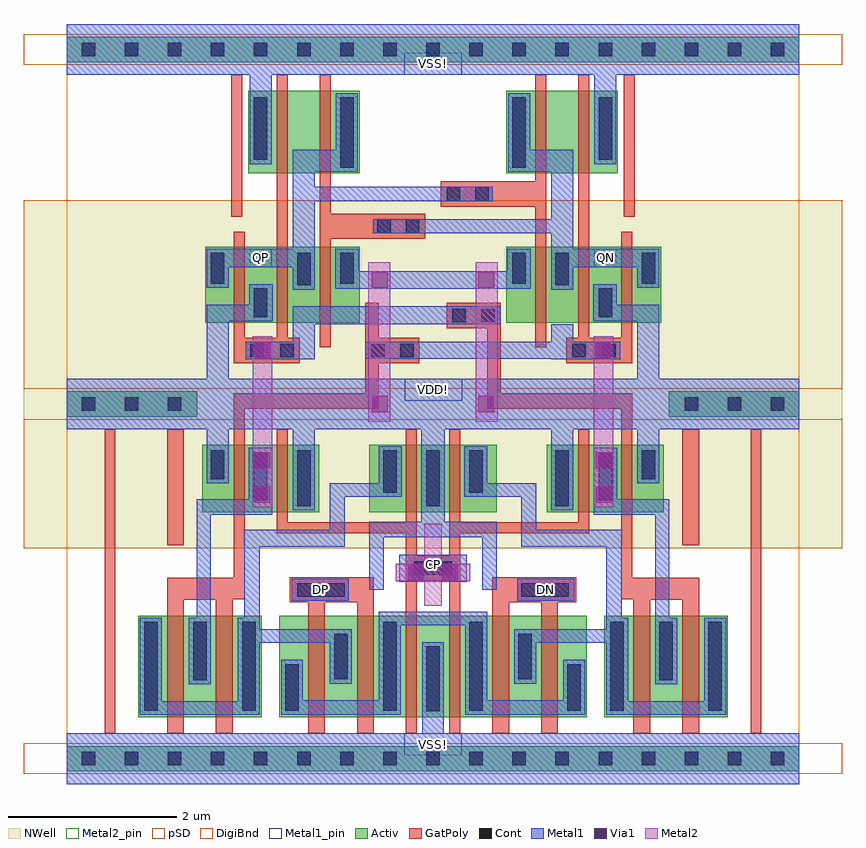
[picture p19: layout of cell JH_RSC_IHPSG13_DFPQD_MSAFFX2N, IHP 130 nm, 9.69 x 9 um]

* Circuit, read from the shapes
.subckt JH_RSC_IHPSG13_DFPQD_MSAFFX2N CP DN DP QN QP VDD! VSS!
XM1 n1 n2 n3 VSS! sg13_lv_nmos w=1.2u l=0.2u m=2
XM2 n4 n1 VSS! VSS! sg13_lv_nmos w=0.98u l=0.13u
XM3 n3 DP n5 VSS! sg13_lv_nmos w=1.2u l=0.2u m=2
XM4 QP QN n4 VSS! sg13_lv_nmos w=0.98u l=0.13u
XM5 VSS! CP n5 VSS! sg13_lv_nmos w=1.2u l=0.13u m=2
XM6 n6 DN n5 VSS! sg13_lv_nmos w=1.2u l=0.2u m=2
XM7 n7 QP QN VSS! sg13_lv_nmos w=0.98u l=0.13u
XM8 VSS! n2 n7 VSS! sg13_lv_nmos w=0.98u l=0.13u
XM9 n2 n1 n6 VSS! sg13_lv_nmos w=1.2u l=0.2u m=2
XM10 n1 n2 VDD! VDD! sg13_lv_pmos w=0.8u l=0.13u
XM11 VDD! n1 QP VDD! sg13_lv_pmos w=0.9u l=0.13u m=2
XM12 VDD! CP n1 VDD! sg13_lv_pmos w=0.8u l=0.13u
XM13 VDD! QN QP VDD! sg13_lv_pmos w=0.9u l=0.13u
XM14 VDD! CP n3 VDD! sg13_lv_pmos w=0.8u l=0.13u
XM15 n6 CP VDD! VDD! sg13_lv_pmos w=0.8u l=0.13u
XM16 QN QP VDD! VDD! sg13_lv_pmos w=0.9u l=0.13u
XM17 n2 CP VDD! VDD! sg13_lv_pmos w=0.8u l=0.13u
XM18 VDD! n2 QN VDD! sg13_lv_pmos w=0.9u l=0.13u m=2
XM19 VDD! n1 n2 VDD! sg13_lv_pmos w=0.8u l=0.13u
.ends

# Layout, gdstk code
from math import pi, radians
import gdstk
lib = gdstk.Library(unit=1e-6, precision=1e-09)
def R(c, l, rs):  # rectangles x0, y0, x1, y1
    for r in rs: c.add(gdstk.rectangle(r[:2], r[2:], *l))
def A(c, l, x, y, w, h, nx, ny, dx, dy):  # array of equal rectangles
    R(c, l, [(x+i*dx, y+j*dy, x+i*dx+w, y+j*dy+h) for i in range(nx) for j in range(ny)])
def P(c, l, *ps):  # polygons
    for p in ps: c.add(gdstk.Polygon(p, *l))
Activ = (1, 0)
GatPoly = (5, 0)
Cont = (6, 0)
Metal1 = (8, 0)
Metal1_pin = (8, 2)
Metal2 = (10, 0)
Metal2_pin = (10, 2)
pSD = (14, 0)
DigiBnd = (16, 0)
Via1 = (19, 0)
NWell = (31, 0)

jh_rsc_ihpsg13_dfpqd_msa = lib.new_cell('JH_RSC_IHPSG13_DFPQD_MSAFFX2N_half')
R(jh_rsc_ihpsg13_dfpqd_msa, Activ, [(0,-0.15,4.335,0.15), (0.845,0.49,2.305,1.69), (2.515,0.49,4.335,1.69), (1.6,2.92,2.99,3.72), (3.58,2.92,4.335,3.72), (0,4.05,1.545,4.35), (1.635,5.16,3.465,6.06), (2.145,6.93,3.465,7.91), (0,8.25,4.59,8.55)])
R(jh_rsc_ihpsg13_dfpqd_msa, GatPoly, [(0.445,0.3,0.575,3.9), (1.185,2.525,1.385,3.9), (2.995,4.875,3.125,8.1), (1.945,6.42,2.075,8.1)])
P(jh_rsc_ihpsg13_dfpqd_msa, GatPoly, [(1.975,4.685),(1.975,6.24),(2.105,6.24),(2.105,4.985),(2.485,4.985),(2.485,8.1),(2.615,8.1),(2.615,4.985),(2.755,4.985),(2.755,4.685)],
  [(2.855,0.3),(2.855,1.85),(2.64,1.85),(2.64,2.15),(3.635,2.15),(3.635,0.3),(3.435,0.3),(3.435,1.85),(3.055,1.85),(3.055,0.3)],
  [(1.185,0.3),(1.185,2.145),(1.975,2.145),(1.975,4.325),(3.535,4.325),(3.535,5.4),(3.695,5.4),(3.695,4.145),(2.105,4.145),(2.105,1.89),(1.965,1.89),(1.965,0.3),(1.765,0.3),(1.765,1.88),(1.385,1.88),(1.385,0.3)],
  [(4.015,0.3),(4.015,2.67),(2.485,2.67),(2.485,3.9),(2.615,3.9),(2.615,2.8),(4.015,2.8),(4.015,3.9),(4.145,3.9),(4.145,2.405),(4.335,2.405),(4.335,2.105),(4.145,2.105),(4.145,0.3)])
A(jh_rsc_ihpsg13_dfpqd_msa, Cont, 0.175, -0.08, 0.16, 0.16, 9, 2, 0.51, 8.4)
A(jh_rsc_ihpsg13_dfpqd_msa, Cont, 0.175, 4.12, 0.16, 0.16, 3, 1, 0.51, 0)
R(jh_rsc_ihpsg13_dfpqd_msa, Cont, [(4.255,0.56,4.415,1.33), (0.915,0.57,1.075,1.62), (2.075,0.57,2.235,1.62), (2.585,0.57,2.745,1.12), (3.745,0.57,3.905,1.62), (1.495,0.93,1.655,1.62), (3.165,0.94,3.325,1.48), (2.725,1.92,3.29,2.08), (4.105,2.175,4.335,2.335), (2.725,2.99,2.885,3.65), (4.255,2.99,4.415,3.65), (2.215,3.055,2.375,3.63), (3.745,3.15,3.905,3.65), (1.705,3.31,1.865,3.65), (2.17,4.755,2.33,4.915), (2.525,4.755,2.685,4.915), (2.215,5.23,2.375,5.57), (2.725,5.605,2.885,5.99), (1.705,5.625,1.865,5.99), (3.235,5.625,3.395,5.99), (3.235,7,3.395,7.83), (2.215,7.09,2.375,7.83)])
R(jh_rsc_ihpsg13_dfpqd_msa, Metal1, [(2.66,1.87,3.34,2.13), (3.935,2.095,4.335,2.415)])
P(jh_rsc_ihpsg13_dfpqd_msa, Metal1, [(1.445,0.88),(1.445,1.67),(1.54,1.67),(1.54,3.07),(2.155,3.07),(2.155,3.68),(2.43,3.68),(2.43,2.89),(1.705,2.89),(1.705,0.88)],
  [(2.12,4.73),(2.12,4.94),(2.675,4.94),(2.675,5.145),(2.935,5.145),(2.935,4.73)],
  [(2.675,5.555),(2.675,5.82),(1.915,5.82),(1.915,5.575),(1.655,5.575),(1.655,6.04),(2.675,6.04),(2.675,7.21),(3.185,7.21),(3.185,7.88),(3.445,7.88),(3.445,6.95),(2.935,6.95),(2.935,5.555)],
  [(0.865,0.52),(0.865,1.67),(1.125,1.67),(1.125,0.68),(2.025,0.68),(2.025,1.67),(2.1,1.67),(2.1,2.71),(3.115,2.71),(3.115,3.26),(3.695,3.26),(3.695,3.7),(3.965,3.7),(3.965,3.1),(3.29,3.1),(3.29,2.51),(2.285,2.51),(2.285,1.53),(3.375,1.53),(3.375,0.89),(3.115,0.89),(3.115,1.37),(2.285,1.37),(2.285,0.52)],
  [(2.165,7.04),(2.165,8.1),(0,8.1),(0,8.7),(4.335,8.7),(4.335,8.1),(2.425,8.1),(2.425,7.04)],
  [(3.175,5.565),(3.175,6.04),(3.455,6.04),(3.455,5.775),(4.335,5.775),(4.335,5.565)],
  [(2.535,0.52),(2.535,1.17),(2.795,1.17),(2.795,0.69),(3.695,0.69),(3.695,1.74),(4.335,1.74),(4.335,1.58),(3.955,1.58),(3.955,0.52)],
  [(0,-0.3),(0,0.3),(4.205,0.3),(4.205,1.38),(4.465,1.38),(4.465,-0.3)],
  [(3.58,2),(3.58,2.805),(4.195,2.805),(4.195,3.9),(2.935,3.9),(2.935,2.94),(2.675,2.94),(2.675,3.9),(1.915,3.9),(1.915,3.26),(1.655,3.26),(1.655,3.9),(0,3.9),(0,4.5),(1.655,4.5),(1.655,5.375),(2.16,5.375),(2.16,5.62),(2.435,5.62),(2.435,5.18),(1.915,5.18),(1.915,4.5),(4.59,4.5),(4.59,3.9),(4.475,3.9),(4.475,2.625),(3.75,2.625),(3.75,2)])
R(jh_rsc_ihpsg13_dfpqd_msa, Metal2, [(2.2,2.98,2.43,5), (3.57,3.99,3.83,5.88)])
R(jh_rsc_ihpsg13_dfpqd_msa, pSD, [(-0.51,-0.18,5.1,0.18), (-0.51,2.49,5.1,4.02), (-0.51,4.38,5.1,6.615), (-0.51,8.22,5.1,8.58)])
R(jh_rsc_ihpsg13_dfpqd_msa, DigiBnd, [(0,-0.3,4.335,8.7)])
R(jh_rsc_ihpsg13_dfpqd_msa, Via1, [(2.22,3.03,2.41,3.22), (2.22,3.44,2.41,3.63), (3.61,4.105,3.8,4.295), (2.225,4.74,2.415,4.93), (3.61,5.575,3.8,5.765)])
R(jh_rsc_ihpsg13_dfpqd_msa, NWell, [(-0.51,2.49,5.1,6.615)])

c_jh_rsc_ihpsg13_dfpqd_msa = lib.new_cell('JH_RSC_IHPSG13_DFPQD_MSAFFX2N')
R(c_jh_rsc_ihpsg13_dfpqd_msa, GatPoly, [(3.535,4.685,4.175,4.985), (4.495,5.1,5.135,5.4), (3.125,6.155,3.605,6.455), (3.605,6.155,4.245,6.455), (4.425,6.535,5.065,6.835), (5.065,6.535,5.545,6.835)])
R(c_jh_rsc_ihpsg13_dfpqd_msa, Cont, [(3.605,4.755,3.765,4.915), (3.945,4.755,4.105,4.915), (4.565,5.17,4.725,5.33), (4.905,5.17,5.065,5.33), (3.675,6.225,3.835,6.385), (4.015,6.225,4.175,6.385), (4.495,6.605,4.655,6.765), (4.835,6.605,4.995,6.765)])
R(c_jh_rsc_ihpsg13_dfpqd_msa, Metal1, [(3.535,4.735,5.735,4.935), (2.675,5.145,5.135,5.355), (3.625,6.22,5.735,6.39), (2.935,6.6,5.045,6.77)])
R(c_jh_rsc_ihpsg13_dfpqd_msa, Metal1_pin, [(3.995,0.04,4.675,0.3), (2.66,1.87,3.34,2.13), (5.33,1.87,6.01,2.13), (4,4.24,4.68,4.5), (2.165,5.82,2.425,6.04), (6.245,5.82,6.505,6.04), (3.995,8.1,4.675,8.36)])
R(c_jh_rsc_ihpsg13_dfpqd_msa, Metal2, [(4.23,1.81,4.44,2.78), (3.895,2.1,4.775,2.31)])
R(c_jh_rsc_ihpsg13_dfpqd_msa, Metal2_pin, [(4.23,1.81,4.44,2.78)])
R(c_jh_rsc_ihpsg13_dfpqd_msa, Via1, [(4.035,2.11,4.225,2.3), (4.445,2.11,4.635,2.3)])
c_jh_rsc_ihpsg13_dfpqd_msa.add(gdstk.Reference(jh_rsc_ihpsg13_dfpqd_msa, (8.67,0), rotation=pi, x_reflection=True))
c_jh_rsc_ihpsg13_dfpqd_msa.add(gdstk.Reference(jh_rsc_ihpsg13_dfpqd_msa, (0,0)))
c_jh_rsc_ihpsg13_dfpqd_msa.add(gdstk.Label('CP', (4.335,2.295), layer=10, texttype=25))
c_jh_rsc_ihpsg13_dfpqd_msa.add(gdstk.Label('QN', (6.375,5.935), layer=8, texttype=25))
c_jh_rsc_ihpsg13_dfpqd_msa.add(gdstk.Label('QP', (2.295,5.93), layer=8, texttype=25))
c_jh_rsc_ihpsg13_dfpqd_msa.add(gdstk.Label('DN', (5.67,2), layer=8, texttype=25))
c_jh_rsc_ihpsg13_dfpqd_msa.add(gdstk.Label('DP', (3,2), layer=8, texttype=25))
c_jh_rsc_ihpsg13_dfpqd_msa.add(gdstk.Label('VSS!', (4.335,0.17), layer=8, texttype=25))
c_jh_rsc_ihpsg13_dfpqd_msa.add(gdstk.Label('VDD!', (4.34,4.37), layer=8, texttype=25))
c_jh_rsc_ihpsg13_dfpqd_msa.add(gdstk.Label('VSS!', (4.335,8.23), layer=8, texttype=25))

lib.write_gds('JH_RSC_IHPSG13_DFPQD_MSAFFX2N.gds')
